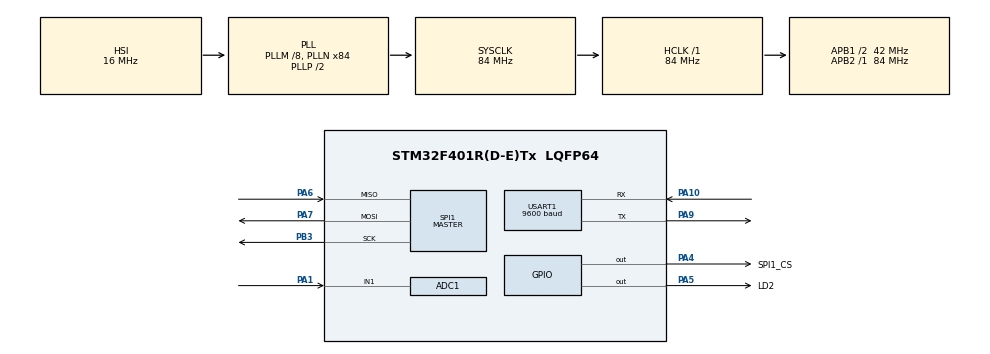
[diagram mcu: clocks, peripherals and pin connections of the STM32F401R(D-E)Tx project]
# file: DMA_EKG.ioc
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Mcu.Family=STM32F4
PA6.Mode=Full_Duplex_Master
Dma.ADC1.0.Instance=DMA2_Stream0
RCC.CortexFreq_Value=84000000
PA7.Mode=Full_Duplex_Master
PA10.Mode=Asynchronous
SPI1.VirtualType=VM_MASTER
USART1.BaudRate=9600
PH1\ -\ OSC_OUT.Mode=HSE-External-Oscillator
RCC.APB1CLKDivider=RCC_HCLK_DIV2
RCC.SYSCLKSource=RCC_SYSCLKSOURCE_PLLCLK
ProjectManager.StackSize=0x400
Dma.ADC1.0.PeriphDataAlignment=DMA_PDATAALIGN_HALFWORD
PA9.Mode=Asynchronous
PH0\ -\ OSC_IN.Mode=HSE-External-Oscillator
PH0\ -\ OSC_IN.Signal=RCC_OSC_IN
ProjectManager.TargetToolchain=SW4STM32
Dma.ADC1.0.Mode=DMA_CIRCULAR
SPI1.Direction=SPI_DIRECTION_2LINES
RCC.HCLKFreq_Value=84000000
Dma.ADC1.0.Priority=DMA_PRIORITY_LOW
RCC.APB2TimFreq_Value=84000000
PA9.Signal=USART1_TX
ADC1.Channel-1\#ChannelRegularConversion=ADC_CHANNEL_1
Dma.ADC1.0.Direction=DMA_PERIPH_TO_MEMORY
NVIC.DMA2_Stream0_IRQn=true\:0\:0\:false\:false\:true\:false\:true
RCC.LSE_VALUE=32768
Dma.ADC1.0.MemDataAlignment=DMA_MDATAALIGN_HALFWORD
PA1.Signal=ADCx_IN1
RCC.AHBFreq_Value=84000000
PA5.Signal=GPIO_Output
RCC.HSE_VALUE=8000000
PH1\ -\ OSC_OUT.Signal=RCC_OSC_OUT
PB3.Mode=Full_Duplex_Master
board=custom
RCC.VCOOutputFreq_Value=168000000
RCC.APB2Freq_Value=84000000
VP_TIM2_VS_ClockSourceINT.Mode=Internal
SPI1.Mode=SPI_MODE_MASTER
Dma.ADC1.0.PeriphInc=DMA_PINC_DISABLE
ADC1.DMAContinuousRequests=ENABLE
TIM2.Period=335999
Mcu.Name=STM32F401R(D-E)Tx
ADC1.ExternalTrigConv=ADC_EXTERNALTRIGCONV_T2_TRGO
RCC.48MHZClocksFreq_Value=42000000
PB3.Signal=SPI1_SCK
PA4.Signal=GPIO_Output
ADC1.SamplingTime-1\#ChannelRegularConversion=ADC_SAMPLETIME_3CYCLES
RCC.SYSCLKFreq_VALUE=84000000
Mcu.Package=LQFP64
TIM2.Prescaler=0
PA6.Signal=SPI1_MISO
ADC1.master=1
PA5.GPIO_Label=LD2
USART1.VirtualMode=VM_ASYNC
ADC1.Rank-1\#ChannelRegularConversion=1
PA10.Signal=USART1_RX
Dma.ADC1.0.MemInc=DMA_MINC_ENABLE
ProjectManager.HeapSize=0x200
RCC.HSI_VALUE=16000000
NVIC.PriorityGroup=NVIC_PRIORITYGROUP_4
TIM2.TIM_MasterOutputTrigger=TIM_TRGO_UPDATE
ADC1.NbrOfConversionFlag=1
SH.ADCx_IN1.0=ADC1_IN1,IN1
RCC.PLLM=8
RCC.PLLN=84
RCC.APB1TimFreq_Value=84000000
Dma.ADC1.0.FIFOMode=DMA_FIFOMODE_DISABLE
NVIC.USART1_IRQn=true\:0\:0\:false\:false\:true\:true\:true
Dma.Request0=ADC1
RCC.APB1Freq_Value=42000000
PA4.GPIO_Label=SPI1_CS
PA7.Signal=SPI1_MOSI

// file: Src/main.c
/* USER CODE BEGIN Header */
/**
  ******************************************************************************
  * @file           : main.c
  * @brief          : Main program body
  ******************************************************************************
  * @attention
  *
  * <h2><center>&copy; Copyright (c) 2020 STMicroelectronics.
  * All rights reserved.</center></h2>
  *
  * This software component is licensed by ST under BSD 3-Clause license,
  * the "License"; You may not use this file except in compliance with the
  * License. You may obtain a copy of the License at:
  *                        opensource.org/licenses/BSD-3-Clause
  *
  ******************************************************************************
  */
/* USER CODE END Header */

#include "main.h"
#include "adc.h"
#include "dma.h"
#include "spi.h"
#include "tim.h"
#include "usart.h"
#include "gpio.h"

/* USER CODE BEGIN Includes */
#include <stdio.h>
#include <string.h>
#include <stdbool.h>
#include "w25qxx.h"
#include "Pan_Tompkins.h"
/* USER CODE END Includes */

/* USER CODE BEGIN PD */
#define BUFFSIZE 32
/* USER CODE END PD */

/* USER CODE BEGIN PV */
uint8_t value_adc[BUFFSIZE];
uint8_t pomiary[21000];
uint8_t kategorie[21000];
bool wynik;
volatile uint8_t dane_gotowe;
/* USER CODE END PV */

void SystemClock_Config(void);

/* USER CODE BEGIN 0 */
volatile uint8_t recv_char;
void send_string(char* s)
{
	HAL_UART_Transmit(&huart1, (uint8_t*)s, strlen(s), 1000);
}
void setup_uart(UART_HandleTypeDef* uart)
{
	//Bluetooth HM10

	/*HAL_Delay(1000);
	HAL_UART_Transmit(uart, "AT\n", strlen("AT\n"), 100);

	HAL_Delay(100);
	HAL_UART_Transmit(uart, "AT+BAUD0\n", strlen("AT+BAUD0\n"), 100);

	HAL_Delay(100);
	HAL_UART_Transmit(uart, "AT+NAMEekg_bt\n", strlen("AT+NAMEekg_bt\n"), 100);

	HAL_Delay(100);
	HAL_UART_Transmit(uart, "AT+PIN111111\n", strlen("AT+PIN111111\n"), 100);
	*/

	//Bluetooth HC-05

	HAL_Delay(1000);
	HAL_UART_Transmit(uart, "AT\n", strlen("AT\n"), 100);

	HAL_Delay(100);
	HAL_UART_Transmit(uart, "AT+NAME=EKG_BT\n", strlen("AT+NAME=EKG_BT\n"), 100);

}

/* USER CODE END 0 */

int main(void)
{
  /* USER CODE BEGIN 1 */
	dane_gotowe=0;

  /* USER CODE END 1 */

  /* MCU Configuration--------------------------------------------------------*/

  /* Reset of all peripherals, Initializes the Flash interface and the Systick. */
  HAL_Init();

  /* Configure the system clock */
  SystemClock_Config();

  /* Initialize all configured peripherals */
  MX_GPIO_Init();
  MX_DMA_Init();
  MX_ADC1_Init();
  MX_USART1_UART_Init();
  MX_TIM2_Init();
  MX_SPI1_Init();
  /* USER CODE BEGIN 2 */
  HAL_ADC_Start_DMA(&hadc1,(uint32_t*)value_adc,BUFFSIZE);
  HAL_TIM_Base_Start(&htim2);
  HAL_UART_Receive_IT(&huart1, &recv_char, 1);
  setup_uart(&huart1);
  init_PanTompkins();
  W25qxx_Init();

  int IntervalCounter=0;
  int n=0;
  int czas=0;
  int CountFirstsOnes=0;
  int curr;
  int isArythmiaDetected=0;
  int CountOnes=0;
  int CountFifthCategories=0;
  int ostatnieInterwaly[5];
  int arythmiaStartIndex;
  int arythmiaEndIndex;
  int kategoria;
  int nAfterArythmia=0;
  /* USER CODE END 2 */

  /* Infinite loop */
  /* USER CODE BEGIN WHILE */
  while(CountFirstsOnes<6) //Pêtla wykonywana tak d³ugo a¿ Pan Tompkins nie wyrzuci 6 jedynki - pomijamy pierwsze 6.
  {
	  if(dane_gotowe==1||dane_gotowe==2)
	  {
		  for(curr=(dane_gotowe-1)*16; curr<=(dane_gotowe-1)*16+15; curr++)
		  {
			  wynik=PanTompkins(value_adc[curr]);
			  if(wynik==1)
			  {
				  CountFirstsOnes++;
			  }
			  if(CountFirstsOnes==6)
			  {
				  pomiary[n]=value_adc[curr];
				  kategorie[n]=1;
				  if(wynik==0)
				  {
					  IntervalCounter++;
				  }
				  n++;
			  }
		  }
	  }
	  dane_gotowe=0;
  }

  while (!(nAfterArythmia>=6000&&isArythmiaDetected==1)) //Wykonuj tak d³ugo a¿ arytmia nie zostanie wykryta i n bêdzie mniejsze ni¿ 6000
  {
	  if(dane_gotowe==1||dane_gotowe==2) //Gdy dane bêd¹ gotowe
	  {
	     for(curr=(dane_gotowe-1)*16; (curr<=(dane_gotowe-1)*16+15)&&!(n>=6000&&isArythmiaDetected==1); curr++) //przejechanie po wszystkich adresach
	     {
	         wynik=PanTompkins(value_adc[curr]); //Pan Tompkins z wyniku
	         if(wynik==0) //Je¿eli Pan Tompkins wywali 0 to dodajemy
	         {
	        	IntervalCounter++;
	        	//HAL_GPIO_TogglePin(LD2_GPIO_Port, LD2_Pin);
	         }
//////////////////////////////////////////////////////////////////////////////////////////////////////////////////////
	         else
	         {
	        	HAL_GPIO_TogglePin(LD2_GPIO_Port, LD2_Pin );
	        	czas=IntervalCounter*5;
	        	PushInterval(czas);
				if(CountOnes==5)
				{
					for(int a=0;a<4;a++)
					{
						ostatnieInterwaly[a]=ostatnieInterwaly[a+1];
					}
					ostatnieInterwaly[4]=IntervalCounter+1;
				}
				else
				{
					ostatnieInterwaly[CountOnes]=IntervalCounter+1;
					CountOnes++;
				}
				if(CountOnes>=3)
				{
					kategoria=ReturnCategory(0);
					if(kategoria==5)
					{
						CountFifthCategories++;
					}
					else
					{
						if(CountFifthCategories!=0&&CountFifthCategories<4)
						{
							int startFifthCategories=n-ostatnieInterwaly[CountOnes-1];
							for(int a=0;a<=CountFifthCategories;a++)
							{
								startFifthCategories-=ostatnieInterwaly[CountOnes-2-a];
							}
							for(int a=CountFifthCategories;a>0;a--)
							{
								kategoria=ReturnCategory(a);
								for(int b=0;b<ostatnieInterwaly[CountOnes-2-a];b++)
								{
									kategorie[startFifthCategories]=kategoria;
									startFifthCategories++;
								}
							}
						}
						CountFifthCategories=0;
					}
					kategoria=ReturnCategory(0);
					for(int a=ostatnieInterwaly[CountOnes-2]+ostatnieInterwaly[CountOnes-1];a>ostatnieInterwaly[CountOnes-1];a--)
					{
						kategorie[n-a]=kategoria;
					}
				}
				else
				{
					if(CountOnes==1)
					{
						for(int a=0;a<n;a++)
						{
							kategorie[n]=1;
						}
					}
				}
				if(isArythmiaDetected!=1)
				{
					isArythmiaDetected=IsArythmiaDetected();
					if(isArythmiaDetected==1)
					{
						if(n-ReturnTotalIntervals()>0)
						{
							arythmiaStartIndex=n-ReturnTotalIntervals();
						}
						else
						{
							arythmiaStartIndex=0;
						}
						arythmiaEndIndex=n;
					}
				}
				IntervalCounter=0;
    		}
//////////////////////////////////////////////////////////////////////////////////////////////////////////////////////
			if(isArythmiaDetected==1)
 			{
				pomiary[n]=value_adc[curr];
				nAfterArythmia++;
				n++;
 			}
			else
			{
				if(n<15000)
				{
					pomiary[n]=value_adc[curr];
					n++;
				}
				else
				{
					for(int a=0;a<14999;a++)
					{
						pomiary[a]=pomiary[a+1];
					}
					pomiary[14999]=value_adc[curr];
				}
			}
	     }
	     dane_gotowe=0;
	  }

    /* USER CODE END WHILE */

    /* USER CODE BEGIN 3 */

  //PrevArytmia=Arytmia;
  /* USER CODE END 3 */
  }
}

void SystemClock_Config(void)
{
  RCC_OscInitTypeDef RCC_OscInitStruct = {0};
  RCC_ClkInitTypeDef RCC_ClkInitStruct = {0};

  /** Configure the main internal regulator output voltage
  */
  __HAL_RCC_PWR_CLK_ENABLE();
  __HAL_PWR_VOLTAGESCALING_CONFIG(PWR_REGULATOR_VOLTAGE_SCALE2);
  /** Initializes the CPU, AHB and APB busses clocks
  */
  RCC_OscInitStruct.OscillatorType = RCC_OSCILLATORTYPE_HSI;
  RCC_OscInitStruct.HSIState = RCC_HSI_ON;
  RCC_OscInitStruct.HSICalibrationValue = RCC_HSICALIBRATION_DEFAULT;
  RCC_OscInitStruct.PLL.PLLState = RCC_PLL_ON;
  RCC_OscInitStruct.PLL.PLLSource = RCC_PLLSOURCE_HSI;
  RCC_OscInitStruct.PLL.PLLM = 8;
  RCC_OscInitStruct.PLL.PLLN = 84;
  RCC_OscInitStruct.PLL.PLLP = RCC_PLLP_DIV2;
  RCC_OscInitStruct.PLL.PLLQ = 4;
  if (HAL_RCC_OscConfig(&RCC_OscInitStruct) != HAL_OK)
  {
    Error_Handler();
  }
  /** Initializes the CPU, AHB and APB busses clocks
  */
  RCC_ClkInitStruct.ClockType = RCC_CLOCKTYPE_HCLK|RCC_CLOCKTYPE_SYSCLK
                              |RCC_CLOCKTYPE_PCLK1|RCC_CLOCKTYPE_PCLK2;
  RCC_ClkInitStruct.SYSCLKSource = RCC_SYSCLKSOURCE_PLLCLK;
  RCC_ClkInitStruct.AHBCLKDivider = RCC_SYSCLK_DIV1;
  RCC_ClkInitStruct.APB1CLKDivider = RCC_HCLK_DIV2;
  RCC_ClkInitStruct.APB2CLKDivider = RCC_HCLK_DIV1;

  if (HAL_RCC_ClockConfig(&RCC_ClkInitStruct, FLASH_LATENCY_2) != HAL_OK)
  {
    Error_Handler();
  }
}

/* USER CODE BEGIN 4 */
void HAL_ADC_ConvHalfCpltCallback (ADC_HandleTypeDef* hadc1)
{
	//HAL_GPIO_WritePin(LD2_GPIO_Port, LD2_Pin, GPIO_PIN_SET);
	dane_gotowe=1;
}

void HAL_ADC_ConvCpltCallback (ADC_HandleTypeDef* hadc1)
{
	//HAL_GPIO_WritePin(LD2_GPIO_Port, LD2_Pin, GPIO_PIN_RESET);
	dane_gotowe=2;
}

void HAL_UART_RxCpltCallback(UART_HandleTypeDef* uart)
{
	if(uart==&huart1)
	{
		HAL_UART_Receive_IT(&huart1,&recv_char, 1);
	}
}

/* USER CODE END 4 */

void Error_Handler(void)
{
}

/************************ (C) COPYRIGHT STMicroelectronics *****END OF FILE****/
